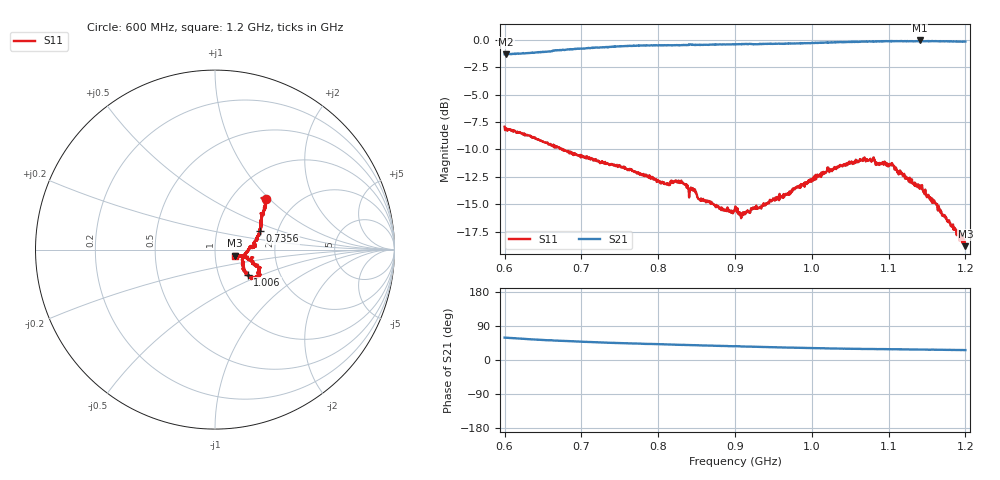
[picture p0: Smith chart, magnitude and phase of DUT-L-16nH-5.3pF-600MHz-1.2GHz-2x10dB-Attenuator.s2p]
# HZ S RI R 50
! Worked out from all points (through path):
!   1010 points, 600 MHz to 1.2 GHz, reference 50 ohm
!   highest |S21| = -0.05 dB at 1.141 GHz (marker M1); lowest = -1.3 dB at 601.8 MHz (marker M2)
!   lowest |S11| = -18.8 dB at 1.2 GHz (marker M3), VSWR 1.26, Z = 62.1 - j4.37 ohm
!   |S11| at or under -10 dB: 674.805 MHz to 676.5478 MHz (1.743 MHz wide, 0.258 % of centre); 676.8 MHz to end of sweep
!   S12 and S22 are empty: the file has one direction only
!   S11 on the Smith chart (normalised r, x): 600 MHz: 1.41, +0.96; 735.6 MHz: 1.62, +0.36; 1.006 GHz: 1.38, -0.41; 1.2 GHz: 1.24, -0.09
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6e8  0.2834 0.2845  0.4417 0.7379  0 0  0 0
6.017839e8  0.2756 0.2779  0.4432 0.7354  0 0  0 0
7.004955e8  0.2594 0.1448  0.6081 0.6797  0 0  0 0
7.355797e8  0.2498 0.1039  0.6487 0.6638  0 0  0 0
8.003964e8  0.2215 0.0447  0.7055 0.6268  0 0  0 0
8.122893e8  0.219 0.0327  0.714 0.6193  0 0  0 0
8.289395e8  0.2243 0.0194  0.724 0.6073  0 0  0 0
8.467789e8  0.2052 0.0209  0.7346 0.5992  0 0  0 0
8.55104e8  0.1842 -0.00154  0.7411 0.5928  0 0  0 0
8.866203e8  0.1631 -0.03  0.7613 0.5741  0 0  0 0
9.002972e8  0.1677 -0.045  0.7656 0.569  0 0  0 0
9.104063e8  0.1557 -0.0494  0.7773 0.5583  0 0  0 0
9.645192e8  0.1581 -0.1142  0.8048 0.5257  0 0  0 0
1.000198e9  0.1825 -0.1402  0.8276 0.505  0 0  0 0
1.00555e9  0.1828 -0.1413  0.8288 0.5039  0 0  0 0
1.03885e9  0.2167 -0.1551  0.8446 0.4897  0 0  0 0
1.065609e9  0.2409 -0.1457  0.8569 0.4786  0 0  0 0
1.100099e9  0.2417 -0.1106  0.8672 0.4686  0 0  0 0
1.104262e9  0.2551 -0.1  0.8656 0.4694  0 0  0 0
1.140535e9  0.2002 -0.0604  0.8807 0.4607  0 0  0 0
1.160158e9  0.1751 -0.044  0.8767 0.4504  0 0  0 0
1.2e9  0.109 -0.0347  0.8817 0.4334  0 0  0 0
